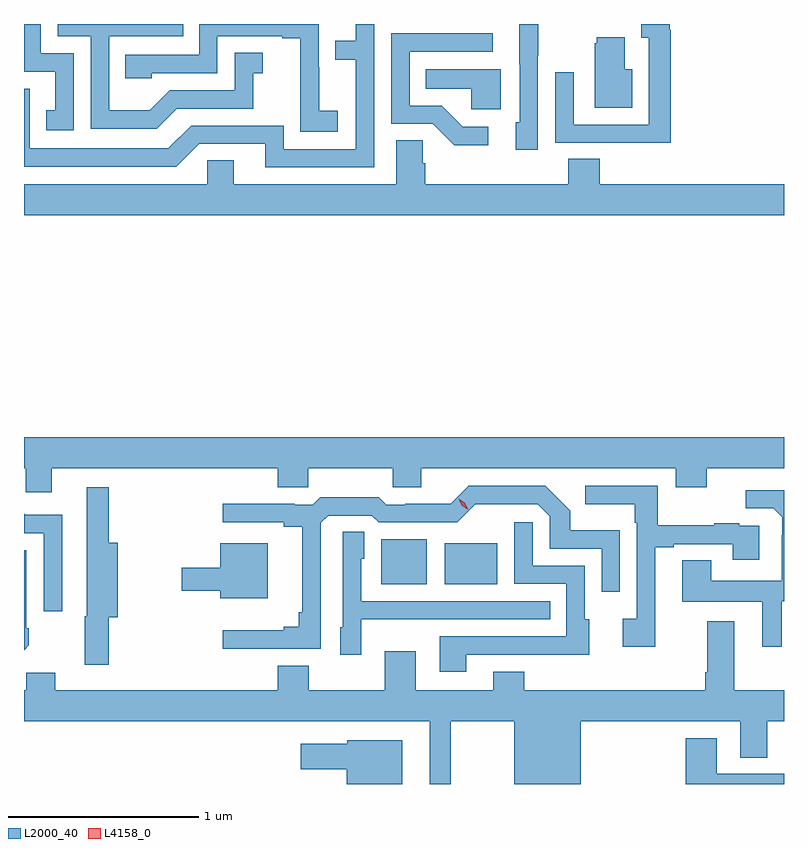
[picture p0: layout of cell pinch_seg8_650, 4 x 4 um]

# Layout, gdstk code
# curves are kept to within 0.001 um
import gdstk
lib = gdstk.Library(unit=1e-6, precision=1e-09)
def R(c, l, rs):  # rectangles x0, y0, x1, y1
    for r in rs: c.add(gdstk.rectangle(r[:2], r[2:], *l))
def P(c, l, *ps):  # polygons
    for p in ps: c.add(gdstk.Polygon(p, *l))
L2000_40 = (2000, 40)
L4158_0 = (4158, 0)

pinch_seg8_650 = lib.new_cell('pinch_seg8_650')
R(pinch_seg8_650, L2000_40, [(362.675,1121.219,362.914,1121.455), (363.008,1121.219,363.286,1121.434)])
P(pinch_seg8_650, L2000_40, [(361.597,1123.722),(362.001,1123.722),(362.001,1123.907),(362.05,1123.907),(362.05,1124.017),(361.902,1124.017),(361.902,1123.818),(361.56,1123.818),(361.456,1123.714),(361.242,1123.714),(361.242,1124.103),(361.631,1124.103),(361.631,1124.167),(360.972,1124.167),(360.972,1124.103),(361.146,1124.103),(361.146,1123.617),(361.492,1123.617)],
  [(364.199,1124.138),(364.192,1124.138),(364.192,1124.167),(364.043,1124.167),(364.043,1124.095),(364.083,1124.095),(364.083,1123.638),(363.687,1123.638),(363.687,1123.912),(363.591,1123.912),(363.591,1123.542),(363.907,1123.542),(363.907,1123.541),(364.199,1123.541)],
  [(361.056,1124.013),(360.882,1124.013),(360.882,1124.167),(360.794,1124.167),(360.794,1123.917),(360.959,1123.917),(360.959,1123.713),(360.91,1123.713),(360.91,1123.608),(361.056,1123.608)],
  [(362.637,1124.167),(362.541,1124.167),(362.541,1124.079),(362.431,1124.079),(362.431,1123.978),(362.541,1123.978),(362.541,1123.509),(362.16,1123.509),(362.16,1123.632),(361.674,1123.632),(361.554,1123.512),(360.825,1123.512),(360.825,1123.827),(360.794,1123.827),(360.794,1123.416),(361.596,1123.416),(361.716,1123.536),(362.063,1123.536),(362.063,1123.413),(362.637,1123.413)],
  [(363.498,1123.999),(363.501,1123.999),(363.501,1124.167),(363.401,1124.167),(363.401,1123.954),(363.402,1123.954),(363.402,1123.65),(363.383,1123.65),(363.383,1123.506),(363.498,1123.506)],
  [(362.446,1123.711),(362.348,1123.711),(362.348,1123.94),(362.346,1123.94),(362.346,1124.167),(361.716,1124.167),(361.716,1124.004),(361.327,1124.004),(361.327,1123.881),(361.467,1123.881),(361.467,1123.908),(361.812,1123.908),(361.812,1124.103),(362.153,1124.103),(362.153,1124.091),(362.249,1124.091),(362.249,1123.807),(362.248,1123.807),(362.248,1123.601),(362.446,1123.601)],
  [(363.238,1123.626),(363.103,1123.626),(362.992,1123.737),(362.823,1123.737),(362.823,1124.022),(363.262,1124.022),(363.262,1124.118),(362.727,1124.118),(362.727,1123.641),(362.946,1123.641),(363.059,1123.529),(363.238,1123.529)],
  [(363.994,1123.93),(363.955,1123.93),(363.955,1124.098),(363.809,1124.098),(363.809,1124.067),(363.797,1124.067),(363.797,1123.727),(363.994,1123.727)],
  [(363.304,1123.93),(362.908,1123.93),(362.908,1123.826),(363.147,1123.826),(363.147,1123.718),(363.304,1123.718)],
  [(364.794,1123.324),(363.824,1123.324),(363.824,1123.457),(363.659,1123.457),(363.659,1123.324),(362.906,1123.324),(362.906,1123.433),(362.892,1123.433),(362.892,1123.556),(362.753,1123.556),(362.753,1123.324),(361.897,1123.324),(361.897,1123.451),(361.758,1123.451),(361.758,1123.324),(360.794,1123.324),(360.794,1123.16),(364.794,1123.16)],
  [(360.94,1121.828),(362.129,1121.828),(362.129,1121.73),(362.289,1121.73),(362.289,1121.828),(362.734,1121.828),(362.734,1121.73),(362.884,1121.73),(362.884,1121.828),(364.223,1121.828),(364.223,1121.729),(364.387,1121.729),(364.387,1121.828),(364.794,1121.828),(364.794,1121.992),(360.794,1121.992),(360.794,1121.828),(360.802,1121.828),(360.802,1121.703),(360.94,1121.703)],
  [(364.117,1121.412),(364.213,1121.412),(364.213,1121.43),(364.523,1121.43),(364.523,1121.346),(364.663,1121.346),(364.663,1121.526),(364.559,1121.526),(364.559,1121.539),(364.427,1121.539),(364.427,1121.528),(364.129,1121.528),(364.129,1121.736),(363.747,1121.736),(363.747,1121.639),(364.008,1121.639),(364.008,1121.543),(364.02,1121.543),(364.02,1121.038),(363.945,1121.038),(363.945,1120.89),(364.117,1120.89)],
  [(362.355,1121.541),(362.394,1121.58),(362.625,1121.58),(362.661,1121.544),(363.075,1121.544),(363.17,1121.639),(363.498,1121.64),(363.561,1121.577),(363.561,1121.406),(363.834,1121.406),(363.834,1121.178),(363.93,1121.178),(363.93,1121.503),(363.669,1121.503),(363.669,1121.606),(363.538,1121.736),(363.135,1121.736),(363.041,1121.642),(362.8,1121.642),(362.8,1121.637),(362.7,1121.637),(362.661,1121.677),(362.353,1121.677),(362.313,1121.637),(362.219,1121.637),(362.219,1121.642),(361.839,1121.642),(361.839,1121.544),(362.162,1121.544),(362.162,1121.522),(362.258,1121.522),(362.258,1121.071),(362.239,1121.071),(362.239,1120.994),(362.162,1120.994),(362.162,1120.975),(361.839,1120.975),(361.839,1120.878),(362.355,1120.878)],
  [(361.241,1121.045),(361.288,1121.045),(361.288,1121.437),(361.241,1121.437),(361.241,1121.728),(361.124,1121.728),(361.124,1121.049),(361.113,1121.049),(361.113,1120.794),(361.241,1120.794)],
  [(364.783,1121.128),(364.794,1121.128),(364.794,1121.712),(364.593,1121.713),(364.593,1121.619),(364.737,1121.619),(364.784,1121.572),(364.784,1121.477),(364.782,1121.477),(364.782,1121.236),(364.411,1121.236),(364.411,1121.345),(364.259,1121.345),(364.259,1121.126),(364.679,1121.126),(364.679,1120.89),(364.783,1120.89)],
  [(360.994,1121.583),(360.801,1121.583),(360.794,1121.59),(360.794,1121.487),(360.897,1121.487),(360.897,1121.076),(360.994,1121.076)],
  [(363.121,1120.848),(363.551,1120.848),(363.551,1120.847),(363.769,1120.847),(363.769,1121.034),(363.744,1121.034),(363.744,1121.316),(363.471,1121.316),(363.471,1121.545),(363.375,1121.545),(363.375,1121.22),(363.648,1121.22),(363.648,1120.944),(362.981,1120.944),(362.981,1120.758),(363.121,1120.758)],
  [(362.568,1121.033),(362.885,1121.033),(362.885,1121.034),(363.563,1121.034),(363.563,1121.13),(362.568,1121.13),(362.568,1121.352),(362.584,1121.352),(362.584,1121.495),(362.472,1121.495),(362.472,1120.992),(362.459,1120.992),(362.459,1120.848),(362.568,1120.848)],
  [(362.077,1121.434),(361.826,1121.434),(361.826,1121.305),(361.623,1121.305),(361.623,1121.183),(361.826,1121.183),(361.826,1121.144),(362.077,1121.144)],
  [(360.82,1120.898),(360.82,1120.987),(360.807,1120.987),(360.807,1121.397),(360.794,1121.397),(360.794,1120.872)],
  [(363.04,1120.496),(363.374,1120.496),(363.374,1120.167),(363.724,1120.167),(363.724,1120.496),(364.565,1120.496),(364.565,1120.306),(364.705,1120.306),(364.705,1120.496),(364.794,1120.496),(364.794,1120.66),(364.531,1120.66),(364.531,1121.023),(364.391,1121.023),(364.391,1120.756),(364.379,1120.756),(364.379,1120.66),(363.427,1120.66),(363.427,1120.759),(363.263,1120.759),(363.263,1120.66),(362.857,1120.66),(362.857,1120.867),(362.693,1120.867),(362.693,1120.66),(362.293,1120.66),(362.293,1120.789),(362.129,1120.789),(362.129,1120.66),(360.959,1120.66),(360.959,1120.753),(360.807,1120.753),(360.807,1120.66),(360.794,1120.66),(360.794,1120.496),(362.93,1120.496),(362.93,1120.167),(363.04,1120.167)],
  [(364.794,1120.221),(364.441,1120.221),(364.441,1120.408),(364.277,1120.408),(364.277,1120.167),(364.794,1120.167)],
  [(362.785,1120.396),(362.496,1120.396),(362.496,1120.378),(362.25,1120.378),(362.25,1120.244),(362.492,1120.244),(362.492,1120.167),(362.785,1120.167)])
P(pinch_seg8_650, L4158_0, [(363.128,1121.614),(363.097,1121.635),(363.081,1121.669),(363.081,1121.669),(363.082,1121.669),(363.113,1121.648),(363.129,1121.614),(363.129,1121.614)])

lib.write_gds('pinch_seg8_650.gds')
